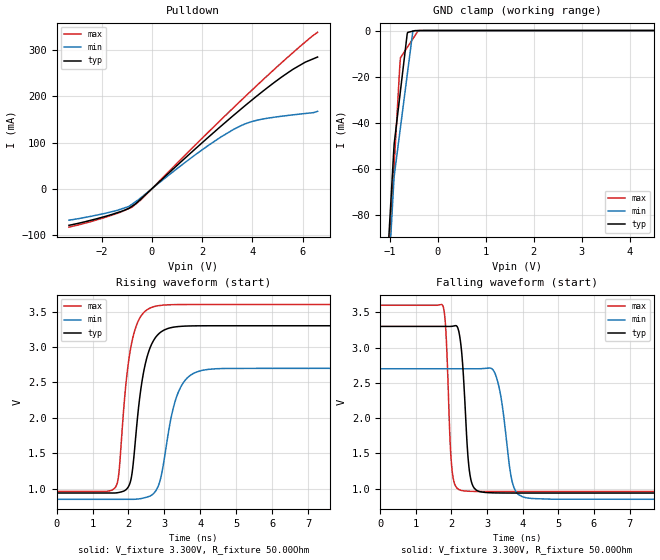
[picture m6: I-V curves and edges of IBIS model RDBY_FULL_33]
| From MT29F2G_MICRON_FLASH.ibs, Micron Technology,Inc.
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|   MODEL RDBY_FULL_33
[Model]   RDBY_FULL_33
Model_type   Open_drain
Vmeas =  1.6500V
Rref = 1000
Cref = 50pF
Vref = 3.3V
|   typ   min   max
C_comp   2.89pF   2.55pF   3.27pF
[Model Spec]
| Measurement voltage corners
Vmeas   1.650V   1.3500V   1.800V
| Timing spec test load voltage corners
Vref   3.300V   2.700V   3.600V
[Voltage Range]   3.300V   2.700V   3.600V
| Junction Temperature (Ambient temp is 25C typ, 70C min, 0C max)
[Temperature Range]   40   85   0
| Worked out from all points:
|   slope of the pulldown table from 0 to 0.495 V, typ, clamps not added: 19.8 ohm
|   GND clamp passes 1 mA (typ) near -0.63 V on its own axis
|   falling waveform, V_fixture 3.300V, R_fixture 50.00Ohm: 20-80 % time 167ps typ, 279ps min, 121ps max; typ from 3.3 V to 0.939 V
|   rising waveform, V_fixture 3.300V, R_fixture 50.00Ohm: 20-80 % time 357ps typ, 435ps min, 318ps max; typ from 0.939 V to 3.3 V
[Pulldown]
|   Voltage   I(typ)   I(min)   I(max)
-3.3V     -78.96mA   -67.83mA   -82.94mA
-1.42V    -52.43mA   -47.29mA   -53.93mA
-920mV    -42.33mA   -38.26mA   -42.73mA
-780mV    -37.26mA   -33.02mA   -39.3mA
-410mV    -20.8mA    -18.18mA   -22.64mA
1.74V     86.77mA    73.92mA    95.09mA
2.73V     134.3mA    111.2mA    147.9mA
3.45V     167.7mA    133.8mA    185.6mA
4.08V     196.1mA    146.8mA    218.1mA
5.17V     241.7mA    156.8mA    272.7mA
6.11V     273.8mA    162.8mA    317.3mA
6.6V      284.9mA    167.5mA    338.3mA
[GND Clamp]
|   Voltage   I(typ)   I(min)   I(max)
-3.3V     -1.139A    -1.091A    -1.18A
-1.07V    -107.3mA   -123.3mA   -116.7mA
-920mV    -52.47mA   -66.2mA    -61.86mA
-910mV    -49.08mA   -63.13mA   -58.2mA
-790mV    -28mA      -43.74mA   -14.35mA
-780mV    -26.24mA   -42.12mA   -11.85mA
-640mV    -1.65mA    -19.5mA    -7.398mA
-630mV    -834.3uA   -17.88mA   -7.08mA
-520mV    -262.9uA   -150.3uA   -3.581mA
-400mV    -16.69uA   -80.73uA   -27.13uA
6.6V      0A         0A         0A
[POWER Clamp]
|No Power Clamp Diode
|   Voltage   I(typ)   I(min)   I(max)
-3.3V     0A         0A         0A
0V        0A         0A         0A
6.6V      0A         0A         0A
[Ramp]
R_load = 50.00Ohm
|   typ   min   max
dV/dt_r   1.417V/356.418ps   1.110V/434.486ps   1.584V/317.803ps
dV/dt_f   1.417V/166.443ps   1.110V/278.965ps   1.584V/121.319ps
[Falling Waveform]
V_fixture = 3.300V
V_fixture_min = 2.700V
V_fixture_max = 3.600V
R_fixture = 50.00Ohm
|   Time   V(typ)   V(min)   V(max)
0s        3.3V       2.7V       3.6V
1.76ns    3.3V       2.7V       3.591V
2ns       3.301V     2.7V       1.349V
2.2ns     3.24V      2.7V       990.9mV
2.49ns    1.307V     2.7V       964.5mV
2.73ns    970.5mV    2.7V       961.5mV
3.26ns    940.7mV    2.582V     960.5mV
3.69ns    939.1mV    1.133V     960.5mV
4ns       938.9mV    884.7mV    960.5mV
10ns      938.8mV    849.8mV    960.5mV
[Rising Waveform]
V_fixture = 3.300V
V_fixture_min = 2.700V
V_fixture_max = 3.600V
R_fixture = 50.00Ohm
|   Time   V(typ)   V(min)   V(max)
0s        938.8mV    849.8mV    960.5mV
1.65ns    940mV      849.8mV    1.031V
1.73ns    946.2mV    849.8mV    1.207V
2.07ns    1.133V     849.4mV    3.01V
2.35ns    2.429V     860.8mV    3.439V
2.59ns    2.976V     894mV      3.548V
2.87ns    3.199V     1.1V       3.586V
3.34ns    3.286V     2.302V     3.599V
3.81ns    3.298V     2.629V     3.6V
10ns      3.3V       2.7V       3.6V
